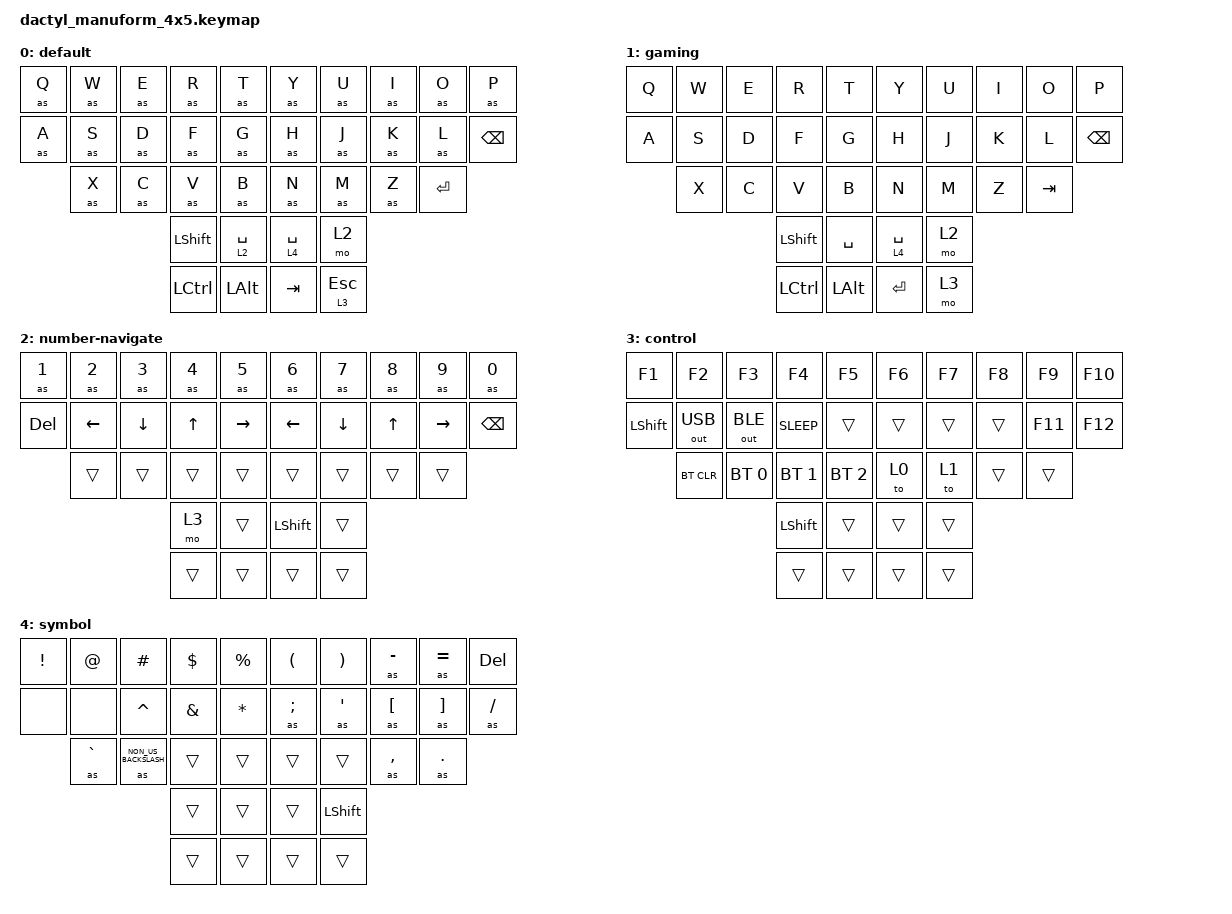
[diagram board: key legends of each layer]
#include <behaviors.dtsi>
#include <dt-bindings/zmk/bt.h>
#include <dt-bindings/zmk/keys.h>
#include <dt-bindings/zmk/outputs.h>

#define DEFAULT 0
#define LWR 1
#define RSE 2
#define ADJ 3

#define HYPER(key) LS(LC(LA(LG(key))))
#define MEH(key)   LS(LC(LA(key)))

&sl { release-after-ms = <5000>; };

&kscan0 {
    debounce-press-ms = <30>;
    debounce-release-ms = <30>;
};

/ {
    combos {
        compatible = "zmk,combos";

        esc {
            bindings = <&kp ESCAPE>;
            key-positions = <1 2>;
        };

        tab {
            bindings = <&kp TAB>;
            key-positions = <11 12>;
        };

        win {
            bindings = <&kp LEFT_WIN>;
            key-positions = <20 21>;
        };

        k1 {
            bindings = <&kp NUMBER_1>;
            key-positions = <0 29>;
            layers = <1>;
        };

        n2 {
            bindings = <&kp NUMBER_2>;
            key-positions = <2 29>;
            layers = <1>;
        };

        n3 {
            bindings = <&kp NUMBER_3>;
            key-positions = <3 29>;
        };

        to1 {
            bindings = <&mo 4>;
            key-positions = <28 29>;
            layers = <1>;
        };

        t3-2 {
            bindings = <&kp NUMBER_3>;
            key-positions = <29 2>;
            layers = <1>;
        };

        evkey {
            bindings = <&kp LC(Y)>;
            key-positions = <34 35>;
        };

        paste {
            bindings = <&kp LC(V)>;
            key-positions = <13 14>;
        };

        cuts {
            bindings = <&kp LC(X)>;
            key-positions = <22 23>;
        };

        forward {
            bindings = <&kp LC(TAB)>;
            key-positions = <5 6>;
        };

        backward {
            bindings = <&kp LC(LS(TAB))>;
            key-positions = <15 16>;
        };

        tabalt {
            bindings = <&kp LA(Z)>;
            key-positions = <30 31>;
        };

        screensh {
            bindings = <&kp LG(LS(S))>;
            key-positions = <7 6 8 9>;
        };

        z {
            bindings = <&kp LC(Z)>;
            key-positions = <32 33>;
        };

        ev {
            bindings = <&kp LA(Z)>;
            key-positions = <30 31>;
        };

        copy {
            bindings = <&kp LC(C)>;
            key-positions = <3 4>;
        };
    };

    macros {
        shift: shift {
            compatible = "zmk,behavior-macro-one-param";
            #binding-cells = <1>;
            bindings =
                <&macro_press>,
                <&kp LEFT_SHIFT>,
                <&macro_tap>,
                <&macro_param_1to1 &kp MACRO_PLACEHOLDER>,
                <&macro_release>,
                <&kp LEFT_SHIFT>;

            label = "SHIFT";
        };

        as: as {
            compatible = "zmk,behavior-macro-one-param";
            #binding-cells = <1>;
            bindings =
                <&macro_press>,
                <&macro_param_1to1 &macro_param_1to2 &as_ht MACRO_PLACEHOLDER MACRO_PLACEHOLDER>,
                <&macro_pause_for_release>,
                <&macro_release>,
                <&macro_param_1to1 &macro_param_1to2 &as_ht MACRO_PLACEHOLDER MACRO_PLACEHOLDER>;

            label = "AS";
        };

        ht: ht {
            compatible = "zmk,behavior-macro-one-param";
            #binding-cells = <1>;
            bindings =
                <&macro_press>,
                <&macro_param_1to1 &macro_param_1to2 &htmo MACRO_PLACEHOLDER MACRO_PLACEHOLDER>,
                <&macro_pause_for_release>,
                <&macro_release>,
                <&macro_param_1to1 &macro_param_1to2 &htmo MACRO_PLACEHOLDER MACRO_PLACEHOLDER>;

            label = "HT";
        };
    };

    behaviors {
        as_ht: as_ht {
            compatible = "zmk,behavior-hold-tap";
            label = "AS_HT";
            bindings = <&shift>, <&kp>;

            #binding-cells = <2>;
            tapping-term-ms = <250>;
            flavor = "tap-preferred";
        };

        htmo: htmo {
            compatible = "zmk,behavior-hold-tap";
            label = "HTMO";
            bindings = <&mo>, <&kp>;

            #binding-cells = <2>;
            tapping-term-ms = <250>;
            flavor = "tap-preferred";
        };
    };

    keymap {
        compatible = "zmk,keymap";

        default {
            bindings = <
&as Q  &as W  &as E  &as R           &as T            &as Y          &as U           &as I  &as O      &as P
&as A  &as S  &as D  &as F           &as G            &as H          &as J           &as K  &as L      &kp BACKSPACE
       &as X  &as C  &as V           &as B            &as N          &as M           &as Z  &kp ENTER
                     &kp LEFT_SHIFT  &htmo 2 SPACE    &htmo 4 SPACE  &mo 2
                     &kp LCTRL       &kp LEFT_ALT     &kp TAB        &htmo 3 ESCAPE
            >;
        };

        gaming {
            bindings = <
&kp Q  &kp W  &kp E  &kp R           &kp T           &kp Y          &kp U  &kp I  &kp O    &kp P
&kp A  &kp S  &kp D  &kp F           &kp G           &kp H          &kp J  &kp K  &kp L    &kp BACKSPACE
       &kp X  &kp C  &kp V           &kp B           &kp N          &kp M  &kp Z  &kp TAB
                     &kp LEFT_SHIFT  &kp SPACE       &htmo 4 SPACE  &mo 2
                     &kp LCTRL       &kp LEFT_ALT    &kp ENTER      &mo 3
            >;
        };

        number-navigate {
            bindings = <
&as NUMBER_1  &as NUMBER_2    &as NUMBER_3  &as NUMBER_4  &as N5       &as NUMBER_6    &as N7          &as N8  &as N9     &as N0
&kp DELETE    &kp LEFT_ARROW  &kp DOWN      &kp UP_ARROW  &kp RIGHT    &kp LEFT_ARROW  &kp DOWN_ARROW  &kp UP  &kp RIGHT  &kp BACKSPACE
              &trans          &trans        &trans        &trans       &trans          &trans          &trans  &trans
                                            &mo 3         &trans       &kp LEFT_SHIFT  &trans
                                            &trans        &trans       &trans          &trans
            >;
        };

        control {
            bindings = <
&kp F1          &kp F2        &kp F3        &kp F4          &kp F5          &kp F6  &kp F7  &kp F8  &kp F9   &kp F10
&kp LEFT_SHIFT  &out OUT_USB  &out OUT_BLE  &kp K_SLEEP     &trans          &trans  &trans  &trans  &kp F11  &kp F12
                &bt BT_CLR    &bt BT_SEL 0  &bt BT_SEL 1    &bt BT_SEL 2    &to 0   &to 1   &trans  &trans
                                            &kp LEFT_SHIFT  &trans          &trans  &trans
                                            &trans          &trans          &trans  &trans
            >;
        };

        symbol {
            bindings = <
&kp EXCLAMATION  &kp AT_SIGN  &kp HASH              &kp DOLLAR     &kp PERCENT     &kp LEFT_PARENTHESIS  &kp RIGHT_PARENTHESIS  &as MINUS         &as EQUAL          &kp DELETE
&none            &none        &kp CARET             &kp AMPERSAND  &kp ASTERISK    &as SEMICOLON         &as SQT                &as LEFT_BRACKET  &as RIGHT_BRACKET  &as SLASH
                 &as GRAVE    &as NON_US_BACKSLASH  &trans         &trans          &trans                &trans                 &as COMMA         &as PERIOD
                                                    &trans         &trans          &trans                &kp LEFT_SHIFT
                                                    &trans         &trans          &trans                &trans
            >;
        };
    };
};
